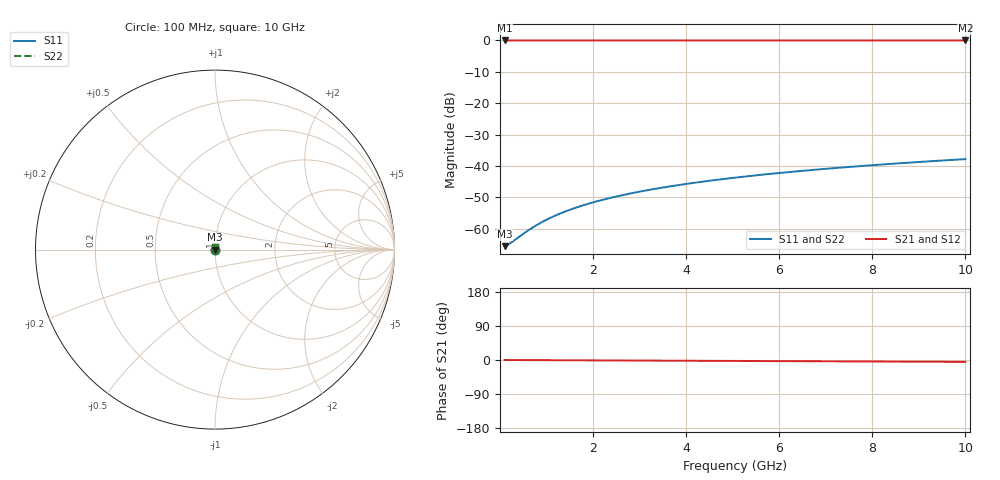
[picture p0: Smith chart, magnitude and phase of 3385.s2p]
# Hz S RI R 50.00
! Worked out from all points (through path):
!   100 points, 100 MHz to 10 GHz, reference 50 ohm
!   highest |S21| = 0.00 dB at 100 MHz (marker M1); lowest = 0.0 dB at 10 GHz (marker M2)
!   lowest |S11| = -65.6 dB at 100 MHz (marker M3), VSWR 1.00, Z = 50.1 + j0.0128 ohm
!   |S11| at or under -10 dB: start of sweep to end of sweep
!   |S22| runs from -65.6 to -37.8 dB; largest |S21 - S12| = 0
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1e8  0.000509 0.000128  0.9995 -0.000865  0.9995 -0.000865  0.000509 0.000128
2e8  0.000512 0.000256  0.9995 -0.00173  0.9995 -0.00173  0.000512 0.000256
3e8  0.000515 0.000383  0.9995 -0.00259  0.9995 -0.00259  0.000515 0.000383
6e8  0.000522 0.000766  0.9995 -0.00519  0.9995 -0.00519  0.000522 0.000766
7e8  0.000525 0.000894  0.9995 -0.00605  0.9995 -0.00605  0.000525 0.000894
8e8  0.000527 0.00102  0.9994 -0.00692  0.9994 -0.00692  0.000527 0.00102
1e9  0.000533 0.00128  0.9994 -0.00865  0.9994 -0.00865  0.000533 0.00128
1.2e9  0.000539 0.00153  0.9994 -0.0104  0.9994 -0.0104  0.000539 0.00153
1.4e9  0.000546 0.00179  0.9994 -0.0121  0.9994 -0.0121  0.000546 0.00179
1.6e9  0.000554 0.00204  0.9994 -0.0138  0.9994 -0.0138  0.000554 0.00204
1.8e9  0.000562 0.0023  0.9993 -0.0156  0.9993 -0.0156  0.000562 0.0023
2.1e9  0.000577 0.00268  0.9993 -0.0182  0.9993 -0.0182  0.000577 0.00268
2.5e9  0.000598 0.00319  0.9992 -0.0216  0.9992 -0.0216  0.000598 0.00319
2.9e9  0.000624 0.0037  0.9991 -0.0251  0.9991 -0.0251  0.000624 0.0037
3.4e9  0.00066 0.00434  0.999 -0.0294  0.999 -0.0294  0.00066 0.00434
4.2e9  0.000729 0.00535  0.9988 -0.0364  0.9988 -0.0364  0.000729 0.00535
5.1e9  0.000824 0.0065  0.9984 -0.0442  0.9984 -0.0442  0.000824 0.0065
5.9e9  0.000923 0.00751  0.9981 -0.0511  0.9981 -0.0511  0.000923 0.00751
6.7e9  0.00104 0.00853  0.9977 -0.0581  0.9977 -0.0581  0.00104 0.00853
7.5e9  0.00116 0.00954  0.9972 -0.065  0.9972 -0.065  0.00116 0.00954
8.4e9  0.00133 0.0107  0.9967 -0.0728  0.9967 -0.0728  0.00133 0.0107
1e10  0.00166 0.0127  0.9955 -0.0868  0.9955 -0.0868  0.00166 0.0127
